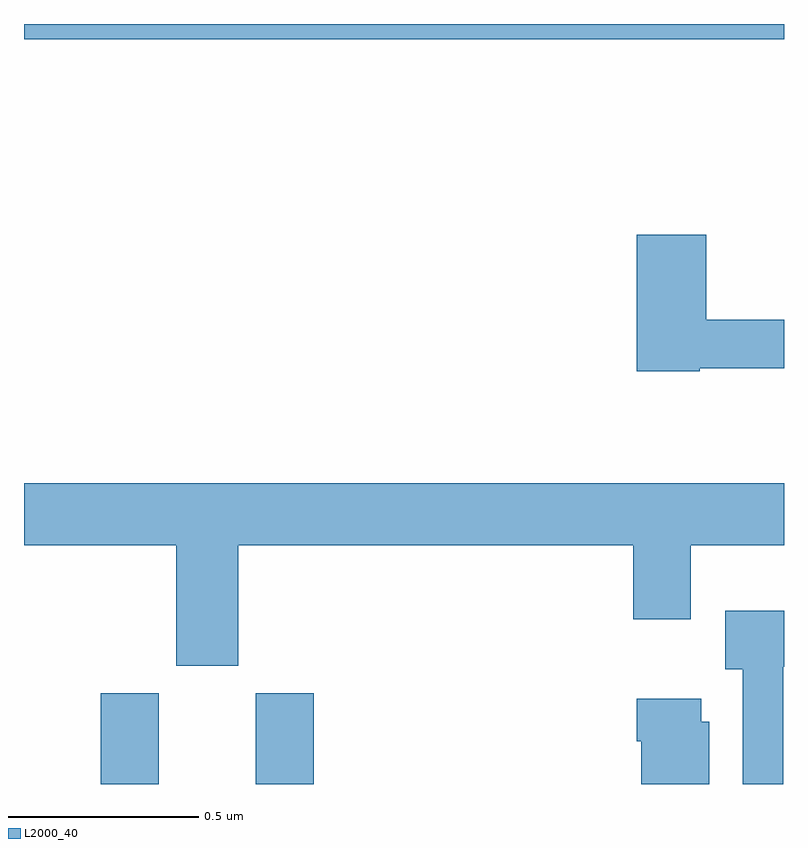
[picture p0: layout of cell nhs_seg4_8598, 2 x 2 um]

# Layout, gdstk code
import gdstk
lib = gdstk.Library(unit=1e-6, precision=1e-09)
def R(c, l, rs):  # rectangles x0, y0, x1, y1
    for r in rs: c.add(gdstk.rectangle(r[:2], r[2:], *l))
def P(c, l, *ps):  # polygons
    for p in ps: c.add(gdstk.Polygon(p, *l))
L2000_40 = (2000, 40)

nhs_seg4_8598 = lib.new_cell('nhs_seg4_8598')
R(nhs_seg4_8598, L2000_40, [(217.202,754.9,217.354,755.139), (217.61,754.9,217.763,755.139), (217,756.86,219,756.9)])
P(nhs_seg4_8598, L2000_40, [(218.778,755.994),(219,755.994),(219,756.122),(218.795,756.122),(218.795,756.346),(218.612,756.346),(218.612,755.986),(218.778,755.986)],
  [(217,755.528),(217.4,755.528),(217.4,755.211),(217.564,755.211),(217.564,755.528),(218.603,755.528),(218.603,755.334),(218.755,755.334),(218.755,755.528),(219,755.528),(219,755.692),(217,755.692)],
  [(218.998,755.209),(219,755.209),(219,755.356),(218.846,755.356),(218.846,755.202),(218.891,755.202),(218.891,754.9),(218.998,754.9)],
  [(218.803,755.064),(218.782,755.064),(218.782,755.125),(218.612,755.125),(218.612,755.012),(218.624,755.012),(218.624,754.9),(218.803,754.9)])

lib.write_gds('nhs_seg4_8598.gds')
